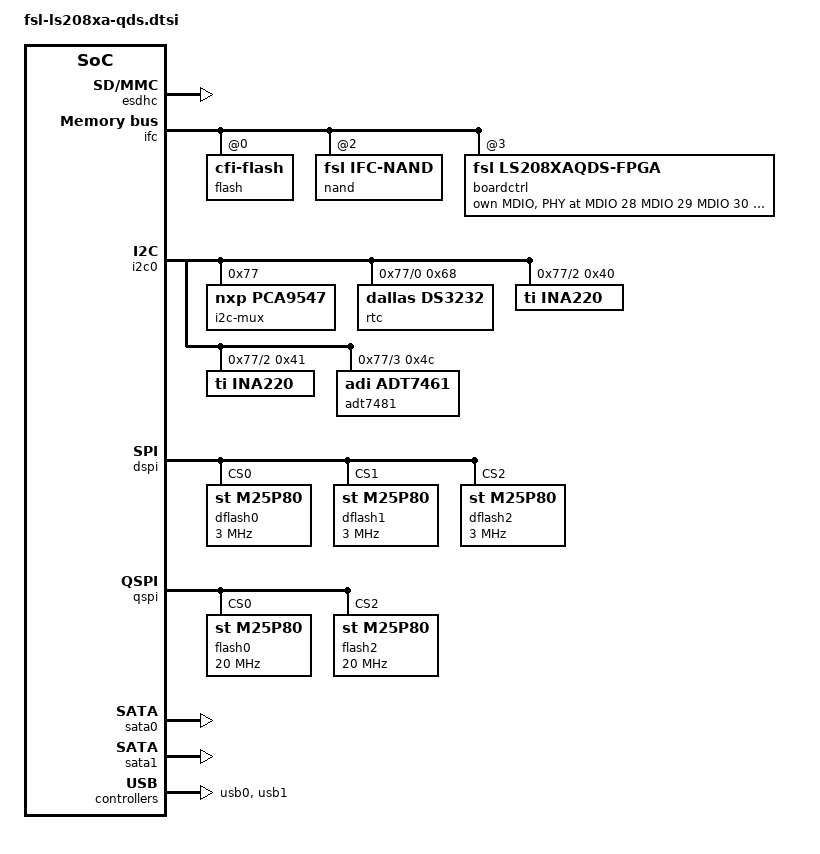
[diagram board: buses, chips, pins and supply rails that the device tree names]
// SPDX-License-Identifier: (GPL-2.0+ OR MIT)
/*
 * Device Tree file for Freescale LS2080A QDS Board.
 *
 * Copyright 2016 Freescale Semiconductor, Inc.
 * Copyright 2017 NXP
 *
 * Abhimanyu Saini <abhimanyu.saini@nxp.com>
 *
 */

/* Update DPMAC connections to external PHYs, under SerDes 0x2a_0x49. */
&dpmac9 {
	phy-handle = <&mdio0_phy12>;
	phy-connection-type = "sgmii";
};

&dpmac10 {
	phy-handle = <&mdio0_phy13>;
	phy-connection-type = "sgmii";
};

&dpmac11 {
	phy-handle = <&mdio0_phy14>;
	phy-connection-type = "sgmii";
};

&dpmac12 {
	phy-handle = <&mdio0_phy15>;
	phy-connection-type = "sgmii";
};

&esdhc {
	mmc-hs200-1_8v;
	status = "okay";
};

&ifc {
	status = "okay";
	#address-cells = <2>;
	#size-cells = <1>;
	ranges = <0x0 0x0 0x5 0x80000000 0x08000000
		  0x2 0x0 0x5 0x30000000 0x00010000
		  0x3 0x0 0x5 0x20000000 0x00010000>;

	flash@0,0 {
		#address-cells = <1>;
		#size-cells = <1>;
		compatible = "cfi-flash";
		reg = <0x0 0x0 0x8000000>;
		bank-width = <2>;
		device-width = <1>;
	};

	nand@2,0 {
	     compatible = "fsl,ifc-nand";
	     reg = <0x2 0x0 0x10000>;
	};

	boardctrl: board-control@3,0 {
		#address-cells = <1>;
		#size-cells = <1>;
		compatible = "fsl,ls208xaqds-fpga", "fsl,fpga-qixis", "simple-mfd";
		reg = <3 0 0x1000>;
		ranges = <0 3 0 0x1000>;

		mdio-mux@54 {
			compatible = "mdio-mux-mmioreg", "mdio-mux";
			mdio-parent-bus = <&emdio1>;
			reg = <0x54 1>;		/* BRDCFG4 */
			mux-mask = <0xe0>;	/* EMI1_MDIO */
			#address-cells = <1>;
			#size-cells = <0>;

			/* Child MDIO buses, one for each riser card:
			 * reg = 0x0, 0x20, 0x40, 0x60, 0x80, 0xa0.
			 * VSC8234 PHYs on the riser cards.
			 */
			mdio_mux3: mdio@60 {
				reg = <0x60>;
				#address-cells = <1>;
				#size-cells = <0>;

				mdio0_phy12: mdio-phy0@1c {
					reg = <0x1c>;
				};

				mdio0_phy13: mdio-phy1@1d {
					reg = <0x1d>;
				};

				mdio0_phy14: mdio-phy2@1e {
					reg = <0x1e>;
				};

				mdio0_phy15: mdio-phy3@1f {
					reg = <0x1f>;
				};
			};
		};
	};
};

&i2c0 {
	status = "okay";
	i2c-mux@77 {
		compatible = "nxp,pca9547";
		reg = <0x77>;
		#address-cells = <1>;
		#size-cells = <0>;
		i2c@0 {
			#address-cells = <1>;
			#size-cells = <0>;
			reg = <0x00>;
			rtc@68 {
				compatible = "dallas,ds3232";
				reg = <0x68>;
			};
		};

		i2c@2 {
			#address-cells = <1>;
			#size-cells = <0>;
			reg = <0x02>;

			ina220@40 {
				compatible = "ti,ina220";
				reg = <0x40>;
				shunt-resistor = <500>;
			};

			ina220@41 {
				compatible = "ti,ina220";
				reg = <0x41>;
				shunt-resistor = <1000>;
			};
		};

		i2c@3 {
			#address-cells = <1>;
			#size-cells = <0>;
			reg = <0x3>;

			adt7481@4c {
				compatible = "adi,adt7461";
				reg = <0x4c>;
			};
		};
	};
};

&i2c1 {
	status = "disabled";
};

&i2c2 {
	status = "disabled";
};

&i2c3 {
	status = "disabled";
};

&dspi {
	status = "okay";
	dflash0: flash@0 {
		#address-cells = <1>;
		#size-cells = <1>;
		compatible = "st,m25p80";
		spi-max-frequency = <3000000>;
		reg = <0>;
	};
	dflash1: flash@1 {
		#address-cells = <1>;
		#size-cells = <1>;
		compatible = "st,m25p80";
		spi-max-frequency = <3000000>;
		reg = <1>;
	};
	dflash2: flash@2 {
		#address-cells = <1>;
		#size-cells = <1>;
		compatible = "st,m25p80";
		spi-max-frequency = <3000000>;
		reg = <2>;
	};
};

&qspi {
	status = "okay";
	flash0: flash@0 {
		#address-cells = <1>;
		#size-cells = <1>;
		compatible = "st,m25p80";
		spi-max-frequency = <20000000>;
		spi-rx-bus-width = <4>;
		spi-tx-bus-width = <4>;
		reg = <0>;
	};
	flash2: flash@2 {
		#address-cells = <1>;
		#size-cells = <1>;
		compatible = "st,m25p80";
		spi-max-frequency = <20000000>;
		spi-rx-bus-width = <4>;
		spi-tx-bus-width = <4>;
		reg = <2>;
	};
};

&sata0 {
	status = "okay";
};

&sata1 {
	status = "okay";
};

&usb0 {
	status = "okay";
};

&usb1 {
	status = "okay";
};
